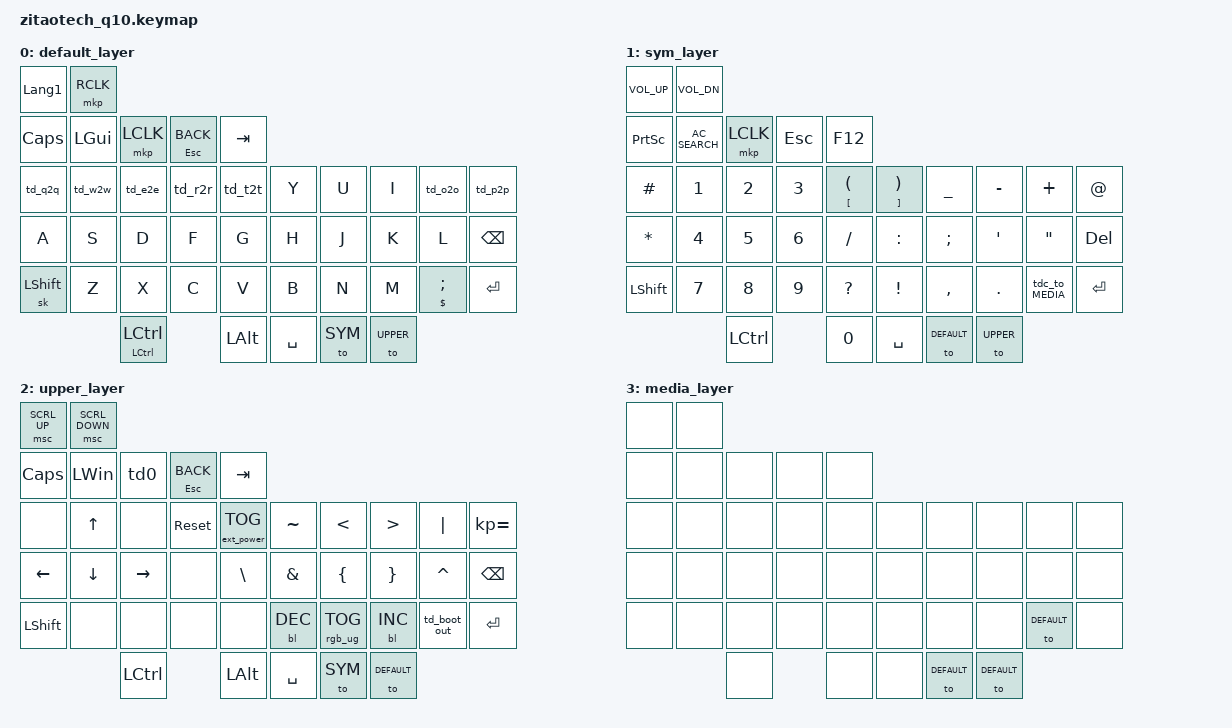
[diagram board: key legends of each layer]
/*
 * Copyright (c) 2023 ZitaoTech
 *
 * SPDX-License-Identifier: MIT
 */

#include <dt-bindings/zmk/mouse.h>
#include <zephyr/dt-bindings/input/input-event-codes.h>
#include <behaviors.dtsi>
#include <dt-bindings/zmk/backlight.h>
#include <dt-bindings/zmk/bt.h>
#include <dt-bindings/zmk/ext_power.h>
#include <dt-bindings/zmk/keys.h>
#include <dt-bindings/zmk/outputs.h>
#include <dt-bindings/zmk/pointing.h>
#include <dt-bindings/zmk/rgb.h>

#define DEFAULT 0
#define SYM 1
#define UPPER 2
#define MEDIA 3

#define SL_TO(layer) &sl_to layer layer //tap -> sticky layer, double tap -> to layer

&sl { release-after-ms = <3000>; };

/ {
    behaviors {
        td0: tap_dance_0 {
            compatible = "zmk,behavior-tap-dance";
            #binding-cells = <0>;
            tapping-term-ms = <400>;
            bindings = <&mkp LCLK>, <&bt BT_CLR>;
        };
    };

    behaviors {
        td_boot_out: td_boot_out {
            compatible = "zmk,behavior-tap-dance";
            #binding-cells = <0>;
            tapping-term-ms = <400>;
            bindings = <&bootloader>, <&out OUT_TOG>;
        };
    };

    behaviors {
        tdc_to_SYM: td_comma_to_layer {
            compatible = "zmk,behavior-tap-dance";
            #binding-cells = <0>;
            tapping-term-ms = <400>;
            bindings = <&mt DLLR SEMI>, <&to SYM>;
        };
    };

    behaviors {
        tdc_to_MEDIA: td_mute_to_layer {
            compatible = "zmk,behavior-tap-dance";
            #binding-cells = <0>;
            tapping-term-ms = <400>;
            bindings = <&kp C_MUTE>, <&to MEDIA>;
        };
    };

    behaviors {
        td1: tap_stickylayer_doubletap_tolayer_1 {
            compatible = "zmk,behavior-tap-dance";
            #binding-cells = <0>;
            tapping-term-ms = <400>;
            bindings = <&sl 1>, <&to 1>;
        };
    };

    behaviors {
        td2: tap_stickylayer_doubletap_tolayer_2 {
            compatible = "zmk,behavior-tap-dance";
            #binding-cells = <0>;
            tapping-term-ms = <400>;
            bindings = <&sl 2>, <&to 2>;
        };
    };

    behaviors {
        sk_kp: behavior_sk_kp {
            compatible = "zmk,behavior-hold-tap";
            #binding-cells = <2>;
            flavor = "hold-preferred";
            tapping-term-ms = <400>;
            bindings = <&kp &sk>;          /* hold=kp, tap=sticky key */
        };
    };

    behaviors {
        hm: homerow_mods {
            compatible = "zmk,behavior-hold-tap";
            #binding-cells = <2>;
            tapping-term-ms = <500>;
            bindings = <&out &kp>;
        };

        td_r2r: td_r2r {
            compatible = "zmk,behavior-tap-dance";
            label = "TD_R2R";
            #binding-cells = <0>;
            bindings = <&kp R>, <&kp LS(R)>;
        };

        td_e2e: td_e2e {
            compatible = "zmk,behavior-tap-dance";
            label = "TD_E2E";
            #binding-cells = <0>;
            bindings = <&kp E>, <&kp LS(E)>;
        };

        td_w2w: td_w2w {
            compatible = "zmk,behavior-tap-dance";
            label = "TD_W2W";
            #binding-cells = <0>;
            bindings = <&kp W>, <&kp LS(W)>;
        };

        td_q2q: td_q2q {
            compatible = "zmk,behavior-tap-dance";
            label = "TD_Q2Q";
            #binding-cells = <0>;
            bindings = <&kp Q>, <&kp LS(Q)>;
        };

        td_t2t: td_t2t {
            compatible = "zmk,behavior-tap-dance";
            label = "TD_T2T";
            #binding-cells = <0>;
            bindings = <&kp T>, <&kp LS(T)>;
        };

        td_o2o: td_o2o {
            compatible = "zmk,behavior-tap-dance";
            label = "TD_O2O";
            #binding-cells = <0>;
            bindings = <&kp O>, <&kp LS(O)>;
        };

        td_p2p: td_p2p {
            compatible = "zmk,behavior-tap-dance";
            label = "TD_P2P";
            #binding-cells = <0>;
            bindings = <&kp P>, <&kp LS(P)>;
        };
    };

    keymap {
        compatible = "zmk,keymap";

        default_layer {
            bindings = <
&kp LANGUAGE_1  &mkp RCLK
&kp CLCK        &kp LGUI   &mkp LCLK           &mt ESC K_BACK  &kp TAB
&td_q2q         &td_w2w    &td_e2e             &td_r2r         &td_t2t   &kp Y        &kp U    &kp I      &td_o2o        &td_p2p
&kp A           &kp S      &kp D               &kp F           &kp G     &kp H        &kp J    &kp K      &kp L          &kp BSPC
&sk LSHFT       &kp Z      &kp X               &kp C           &kp V     &kp B        &kp N    &kp M      &mt DLLR SEMI  &kp ENTER
                           &sk_kp LCTRL LCTRL                  &kp LALT  &kp SPACE    &to SYM  &to UPPER
            >;
        };

        sym_layer {
            bindings = <
&kp C_VOL_UP  &kp C_VOL_DN
&kp PSCRN     &kp C_AC_SEARCH  &mkp LCLK  &kp ESC  &kp F12
&kp HASH      &kp N1           &kp N2     &kp N3   &mt LBKT LPAR  &mt RBKT RPAR    &kp UNDER    &kp MINUS  &kp PLUS       &kp AT
&kp STAR      &kp N4           &kp N5     &kp N6   &kp SLASH      &kp COLON        &kp SEMI     &kp APOS   &kp DQT        &kp DEL
&kp LSHFT     &kp N7           &kp N8     &kp N9   &kp QMARK      &kp EXCL         &kp COMMA    &kp DOT    &tdc_to_MEDIA  &kp ENTER
                               &kp LCTRL           &kp N0         &kp SPACE        &to DEFAULT  &to UPPER
            >;
        };

        upper_layer {
            bindings = <
&msc SCRL_UP  &msc SCRL_DOWN
&kp CAPS      &kp LEFT_WIN    &td0       &mt ESC K_BACK  &kp TAB
&none         &kp UP          &none      &sys_reset      &ext_power EP_TOG  &kp TILDE     &kp LT           &kp GT       &kp PIPE      &kp KP_EQUAL
&kp LEFT      &kp DOWN        &kp RIGHT  &none           &kp BSLH           &kp AMPS      &kp LBRC         &kp RBRC     &kp CARET     &kp BSPC
&kp LSHFT     &none           &none      &none           &none              &bl BL_DEC    &rgb_ug RGB_TOG  &bl BL_INC   &td_boot_out  &kp ENTER
                              &kp LCTRL                  &kp LALT           &kp SPACE     &to SYM          &to DEFAULT
            >;
        };

        media_layer {
            bindings = <
&none  &none
&none  &none  &none  &none  &none
&none  &none  &none  &none  &none  &none    &none        &none        &none        &none
&none  &none  &none  &none  &none  &none    &none        &none        &none        &none
&none  &none  &none  &none  &none  &none    &none        &none        &to DEFAULT  &none
              &none         &none  &none    &to DEFAULT  &to DEFAULT
            >;
        };
    };
};
